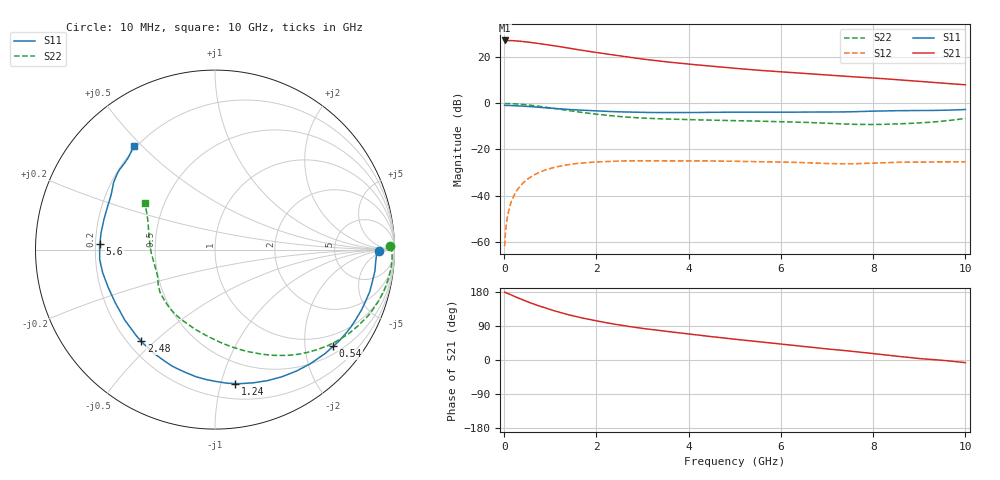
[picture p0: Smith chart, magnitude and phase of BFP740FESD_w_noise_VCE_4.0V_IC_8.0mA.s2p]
! Infineon Technologies  Discrete & RF Semiconductors
! BFP740FESD
! VCE =  4.0 V,  IC =  8.0 mA
! Common Emitter S-Parameters:  Jan 2016
# GHz  S  MA  R  50
!  f  S11  S21  S12  S22
! GHz  MAG  ANG  MAG  ANG  MAG  ANG  MAG  ANG
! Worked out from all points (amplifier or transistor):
!   233 points, 10 MHz to 10 GHz, reference 50 ohm
!   highest |S21| = 27.3 dB at 10 MHz (marker M1)
!   |S21| within 3 dB of that: start of sweep to 1.303 GHz
!   unconditionally stable (mu >= 1): start of sweep to 12.84 MHz; 6.635 GHz to end of sweep
!   at 200 MHz: K = 0.10, MSG = 33.8 dB, |S12| = -40.5 dB
!   at 1.74 GHz: K = 0.27, MSG = 24.3 dB, |S12| = -25.8 dB
!   at 10 GHz: K = 1.36, MAG = 13.1 dB, |S12| = -25.4 dB
!   lowest NFmin = 0.56 dB at 450 MHz
!   S11 on the Smith chart (normalised r, x): 10 MHz: 21, -2; 540 MHz: 0.68, -2.65; 1.24 GHz: 0.32, -1.11; 2.48 GHz: 0.25, -0.45; 5.6 GHz: 0.22, +0.02; 10 GHz: 0.19, +0.47
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0.01  0.9116 -0.5  23.06 179.1  0.0008 3.0  0.9779 1.1
0.065  0.8978 -4.9  22.88 176.1  0.0032 75.7  0.9875 -3.1
0.2  0.8937 -15.1  22.76 169.2  0.0094 77.4  0.9785 -9.9
0.26  0.8864 -19.4  22.5 165.8  0.0122 75.8  0.9709 -12.9
0.38  0.8731 -28.2  22.01 159.9  0.0174 71.7  0.9504 -18.5
0.54  0.8508 -39.3  21.11 152.2  0.0239 66.0  0.9159 -25.7
0.7  0.8288 -50.0  20.18 145.0  0.0298 60.5  0.8779 -32.5
0.9  0.8002 -62.4  18.88 136.8  0.036 54.0  0.8255 -40.4
1.1  0.7726 -73.8  17.58 129.4  0.0412 48.1  0.772 -47.8
1.24  0.7546 -81.4  16.71 124.5  0.0442 44.2  0.7356 -52.7
1.4  0.735 -89.5  15.73 119.2  0.047 40.2  0.6957 -58.0
1.68  0.7079 -101.7  14.19 111.3  0.0508 34.0  0.6359 -66.2
2  0.6838 -113.4  12.6 103.3  0.0536 28.4  0.5817 -74.6
2.48  0.6549 -128.8  10.73 92.9  0.056 21.5  0.5205 -86.1
2.96  0.6382 -141.1  9.22 84.0  0.0567 16.3  0.4813 -95.8
3.4  0.6297 -150.0  8.168 77.4  0.0566 12.9  0.4615 -102.3
4.2  0.6328 -163.6  6.789 65.9  0.0564 8.7  0.4382 -112.3
5.1  0.6439 -176.3  5.631 53.5  0.0552 4.8  0.419 -123.8
5.6  0.6421 177.3  5.137 47.2  0.0542 3.3  0.4086 -129.6
6.8  0.6424 160.6  4.244 31.9  0.0505 1.9  0.3773 -146.0
8.4  0.6895 142.2  3.324 11.6  0.0524 7.5  0.3546 -176.1
10  0.7343 128.1  2.527 -6.9  0.0539 6.5  0.4678 146.4
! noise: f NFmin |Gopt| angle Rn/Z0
0.45  0.56  0.32  6  0.1
2.4  0.64  0.21  46  0.1
5.5  0.82  0.33  134  0.08
10  1.44  0.4  -138  0.12
